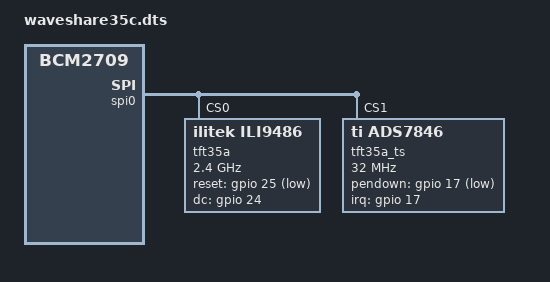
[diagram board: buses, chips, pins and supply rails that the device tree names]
/*
 * Device Tree overlay for waveshare 3.5inch IPS LCD
 *
 */

/dts-v1/;
/plugin/;

/ {
	compatible = "brcm,bcm2835", "brcm,bcm2708", "brcm,bcm2709";

	fragment@0 {
		target = <&spi0>;
		__overlay__ {
			status = "okay";

			spidev@0 {
				status = "disabled";
			};

			spidev@1 {
				status = "disabled";
			};
		};
	};

	fragment@1 {
		target = <&gpio>;
		__overlay__ {
			tft35a_pins: tft35a_pins {
				brcm,pins = <17 25 24>;
				brcm,function = <0 0 0>; /* in in in */
			};
		};
	};

	fragment@2 {
		target = <&spi0>;
		__overlay__ {
			/* needed to avoid dtc warning */
			#address-cells = <1>;
			#size-cells = <0>;

			tft35a: tft35a@0 {
				compatible = "ilitek,ili9486";
				reg = <0>;
				pinctrl-names = "default";
				pinctrl-0 = <&tft35a_pins>;

				spi-max-frequency = <2400000000>;
				txbuflen = <32768>;
				rotate = <90>;
				bgr = <0>;
				fps = <30>;
				buswidth = <8>;
				regwidth = <16>;
				reset-gpios = <&gpio 25 1>;
				dc-gpios = <&gpio 24 0>;
				debug = <0>;

				init = <0x10000f1 0x36 0x4 0x0 0x3c 0xf 0x8f
				        0x10000f2 0x18 0xa3 0x12 0x2 0xb2 0x12 0xff 0x10 0x0
				        0x10000f8 0x21 0x4
				        0x10000f9 0x0 0x8
				        0x1000036 0x8
				        0x10000b4 0x0
				        0x10000c1 0x41
				        0x10000c5 0x0 0x91 0x80 0x0
				        0x10000e0 0xf 0x1f 0x1c 0xc 0xf 0x8 0x48 0x98 0x37 0xa 0x13 0x4 0x11 0xd 0x0
				        0x10000e1 0xf 0x32 0x2e 0xb 0xd 0x5 0x47 0x75 0x37 0x6 0x10 0x3 0x24 0x20 0x0
				        0x100003a 0x55
				        0x1000011
				        0x1000036 0x28
				        0x20000ff
				        0x1000029>;
			};

			tft35a_ts: tft35a-ts@1 {
				compatible = "ti,ads7846";
				reg = <1>;

				spi-max-frequency = <32000000>;
				interrupts = <17 2>; /* high-to-low edge triggered */
				interrupt-parent = <&gpio>;
				pendown-gpio = <&gpio 17 1>;
				ti,x-plate-ohms = /bits/ 16 <60>;
				ti,pressure-max = /bits/ 16 <255>;
			};
		};
	};
	__overrides__ {
		speed =		<&tft35a>,"spi-max-frequency:0";
		txbuflen =	<&tft35a>,"txbuflen:0";
		rotate =	<&tft35a>,"rotate:0";
		fps =		<&tft35a>,"fps:0";
		bgr =		<&tft35a>,"bgr:0";
		debug =		<&tft35a>,"debug:0";
		swapxy =	<&tft35a_ts>,"ti,swap-xy?";
	};
};
